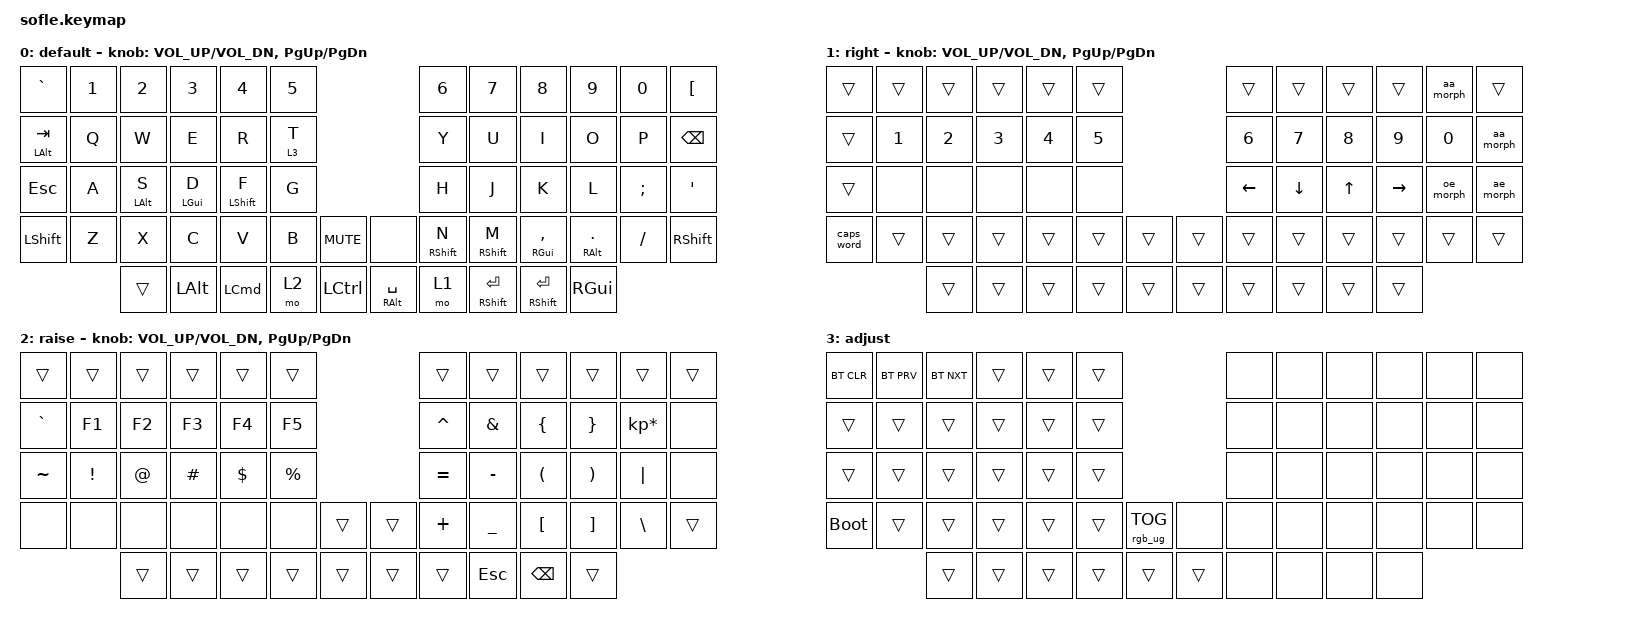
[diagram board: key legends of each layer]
/*
 * Copyright (c) 2020 The ZMK Contributors
 *
 * SPDX-License-Identifier: MIT
 */

#include <behaviors.dtsi>
#include <dt-bindings/zmk/bt.h>
#include <dt-bindings/zmk/keys.h>
#include <dt-bindings/zmk/rgb.h>

#define BASE 0
#define LOWER 1
#define RAISE 2
#define ADJUST 3

/ {
    behaviors {
        // Home row mods - right hand

        hmr: hmr {
            compatible = "zmk,behavior-hold-tap";
            label = "HMR";
            bindings = <&kp>, <&kp>;

            #binding-cells = <2>;
            tapping-term-ms = <240>;
            quick-tap-ms = <175>;
            flavor = "balanced";
            hold-trigger-on-release;
            hold-trigger-key-positions = <0 1 2 3 4 5 12 13 14 15 16 17 24 25 26 27 28 29 36 37 38 39 40 41 42 43 44 45 46 47>;
            require-prior-idle-ms = <100>;
        };

        // Home row mods - left hand

        hml: hml {
            compatible = "zmk,behavior-hold-tap";
            label = "HML";
            bindings = <&kp>, <&kp>;

            #binding-cells = <2>;
            tapping-term-ms = <240>;
            quick-tap-ms = <175>;
            require-prior-idle-ms = <100>;
            flavor = "balanced";
            hold-trigger-key-positions = <6 7 8 9 10 11 18 19 20 21 22 23 30 31 32 33 34 35 48 49 50 51 52 53 54 55 56 57>;
            hold-trigger-on-release;
        };

        // Unicode macro for å (lowercase)

        aa_lower: aa_lower {
            compatible = "zmk,behavior-macro";
            #binding-cells = <0>;
            bindings =
                <&macro_press>,
                <&kp LALT>,
                <&macro_tap>,
                <&kp KP_N0 &kp KP_N0 &kp E &kp KP_N5>,
                <&macro_release>,
                <&kp LALT>;
        };

        // Unicode macro for Å (uppercase)

        aa_upper: aa_upper {
            compatible = "zmk,behavior-macro";
            #binding-cells = <0>;
            bindings =
                <&macro_press>,
                <&kp LALT>,
                <&macro_tap>,
                <&kp KP_N0 &kp KP_N0 &kp C &kp KP_N5>,
                <&macro_release>,
                <&kp LALT>;
        };

        // Unicode macro for ä (lowercase)

        ae_lower: ae_lower {
            compatible = "zmk,behavior-macro";
            #binding-cells = <0>;
            bindings =
                <&macro_press>,
                <&kp LALT>,
                <&macro_tap>,
                <&kp KP_N0 &kp KP_N0 &kp E &kp KP_N4>,
                <&macro_release>,
                <&kp LALT>;
        };

        // Unicode macro for Ä (uppercase)

        ae_upper: ae_upper {
            compatible = "zmk,behavior-macro";
            #binding-cells = <0>;
            bindings =
                <&macro_press>,
                <&kp LALT>,
                <&macro_tap>,
                <&kp KP_N0 &kp KP_N0 &kp C &kp KP_N4>,
                <&macro_release>,
                <&kp LALT>;
        };

        // Unicode macro for ö (lowercase)

        oe_lower: oe_lower {
            compatible = "zmk,behavior-macro";
            #binding-cells = <0>;
            bindings =
                <&macro_press>,
                <&kp LALT>,
                <&macro_tap>,
                <&kp KP_N0 &kp KP_N0 &kp F &kp KP_N6>,
                <&macro_release>,
                <&kp LALT>;
        };

        // Unicode macro for Ö (uppercase)

        oe_upper: oe_upper {
            compatible = "zmk,behavior-macro";
            #binding-cells = <0>;
            bindings =
                <&macro_press>,
                <&kp LALT>,
                <&macro_tap>,
                <&kp KP_N0 &kp KP_N0 &kp D &kp KP_N6>,
                <&macro_release>,
                <&kp LALT>;
        };

        // Mod-morph for å/Å

        aa_morph: aa_morph {
            compatible = "zmk,behavior-mod-morph";
            #binding-cells = <0>;
            bindings = <&aa_lower>, <&aa_upper>;

            mods = <(MOD_LSFT|MOD_RSFT)>;
        };

        // Mod-morph for ä/Ä

        ae_morph: ae_morph {
            compatible = "zmk,behavior-mod-morph";
            #binding-cells = <0>;
            bindings = <&ae_lower>, <&ae_upper>;

            mods = <(MOD_LSFT|MOD_RSFT)>;
        };

        // Mod-morph for ö/Ö

        oe_morph: oe_morph {
            compatible = "zmk,behavior-mod-morph";
            #binding-cells = <0>;
            bindings = <&oe_lower>, <&oe_upper>;

            mods = <(MOD_LSFT|MOD_RSFT)>;
        };
    };

    // Activate ADJUST layer by pressing raise and lower

    conditional_layers {
        compatible = "zmk,conditional-layers";

        adjust_layer {
            if-layers = <LOWER RAISE>;
            then-layer = <ADJUST>;
        };
    };

    macros {
    };

    keymap {
        compatible = "zmk,keymap";

        default_layer {
            label = "default";

            // ------------------------------------------------------------------------------------------------------------
            // |  `    |  1  |  2  |  3   |  4   |  5   |                   |  6   |  7    |  8    |  9   |   0   |   [   |
            // | TAB/ALT| Q  |  W  |  E   |  R   |  T   |                   |  Y   |  U    |  I    |  O   |   P   | BKSPC |
            // |  ESC  |  A  | S/ALT| D/CMD| F/SFT|  G  |                   |  H   |  J    |  K    |  L   |   ;   |   '   |
            // | SHIFT |  Z  |  X  |  C   |  V   |  B   |  MUTE  |  |       | N/SFT| M/SFT | ,/CMD | ./ALT|   /   | SHIFT |
            //               | GUI | SL 2 | CTRL | LOWER|  ENTER |  | SPACE | RAISE| CTRL  | SFT+RET| GUI |

            bindings = <
&kp GRAVE         &kp N1  &kp N2           &kp N3           &kp N4             &kp N5                                 &kp N6              &kp N7                  &kp N8                  &kp N9                 &kp N0    &kp LBKT
&mt LEFT_ALT TAB  &kp Q   &kp W            &kp E            &kp R              &lt 3 T                                &kp Y               &kp U                   &kp I                   &kp O                  &kp P     &kp BSPC
&kp ESC           &kp A   &hmr LEFT_ALT S  &hmr LEFT_GUI D  &hmr LEFT_SHIFT F  &kp G                                  &kp H               &kp J                   &kp K                   &kp L                  &kp SEMI  &kp SQT
&kp LSHFT         &kp Z   &kp X            &kp C            &kp V              &kp B    &kp C_MUTE    &none           &hml RIGHT_SHIFT N  &hml RIGHT_SHIFT M      &hml RIGHT_GUI COMMA    &hml RIGHT_ALT PERIOD  &kp FSLH  &kp RSHFT
                          &trans           &kp LALT         &kp LEFT_COMMAND   &mo 2    &kp LCTRL     &mt RALT SPACE  &mo 1               &mt RIGHT_SHIFT RETURN  &mt RIGHT_SHIFT RETURN  &kp RGUI
            >;

            sensor-bindings = <&inc_dec_kp C_VOL_UP C_VOL_DN &inc_dec_kp PG_UP PG_DN>;
        };

        lower_layer {
            label = "right";

            // Arrows layer - like Corne with number row
            // ------------------------------------------------------------------------------------------------------------
            // |       |     |     |      |      |      |                   |      |       |       |      |   å   |       |
            // |       | N1  | N2  | N3   | N4   | N5   |                   | N6   | N7    | N8    | N9   |   0   |       |
            // |       |     |     |      |      |      |                   | LEFT | DOWN  | UP    | RIGHT|   ö   |   ä   |
            // |CPSWORD|     |     |      |      |      |        |  |       |      |       |       |      |       |       |
            //               |     |      |      |      |        |  |       |      |       |       |      |

            bindings = <
&trans      &trans  &trans  &trans  &trans  &trans                    &trans    &trans    &trans  &trans     &aa_morph  &trans
&trans      &kp N1  &kp N2  &kp N3  &kp N4  &kp N5                    &kp N6    &kp N7    &kp N8  &kp N9     &kp N0     &aa_morph
&trans      &none   &none   &none   &none   &none                     &kp LEFT  &kp DOWN  &kp UP  &kp RIGHT  &oe_morph  &ae_morph
&caps_word  &trans  &trans  &trans  &trans  &trans  &trans    &trans  &trans    &trans    &trans  &trans     &trans     &trans
                    &trans  &trans  &trans  &trans  &trans    &trans  &trans    &trans    &trans  &trans
            >;

            sensor-bindings = <&inc_dec_kp C_VOL_UP C_VOL_DN &inc_dec_kp PG_UP PG_DN>;
        };

        raise_layer {
            label = "raise";

            // Special characters layer - shifted down one row for home row access
            // ------------------------------------------------------------------------------------------------------------
            // |       |     |      |      |      |      |                   |      |       |       |      |       |       |
            // |   `   | F1  | F2   | F3   | F4   | F5   |                   |  ^   |  &    |  {    |  }   |   *   |       |
            // |   ~   |  !  |  @   |  #   |  $   |  %   |                   |  =   |  -    |  (    |  )   |   |   |       |
            // |       |     |      |      |      |      |        |  |       |  +   |  _    |  [    |  ]   |   \   |       |
            //               |      |      |      |      |        |  |       |      | ESC   | BKSPC |      |

            bindings = <
&trans     &trans    &trans  &trans    &trans      &trans                         &trans     &trans          &trans    &trans    &trans           &trans
&kp GRAVE  &kp F1    &kp F2  &kp F3    &kp F4      &kp F5                         &kp CARET  &kp AMPS        &kp LBRC  &kp RBRC  &kp KP_MULTIPLY  &none
&kp TILDE  &kp EXCL  &kp AT  &kp HASH  &kp DOLLAR  &kp PERCENT                    &kp EQUAL  &kp MINUS       &kp LPAR  &kp RPAR  &kp PIPE         &none
&none      &none     &none   &none     &none       &none        &trans    &trans  &kp PLUS   &kp UNDERSCORE  &kp LBKT  &kp RBKT  &kp BACKSLASH    &trans
                     &trans  &trans    &trans      &trans       &trans    &trans  &trans     &kp ESCAPE      &kp BSPC  &trans
            >;

            sensor-bindings = <&inc_dec_kp C_VOL_UP C_VOL_DN &inc_dec_kp PG_UP PG_DN>;
        };

        adjust_layer {
            // Bluetooth layer - like Corne
            // ----------------------------------------------------------------------------------------------------------------------------
            // | BTCLR  |  BT_PRV |  BT_NXT |         |         |         |                  |      |      |       |      |       |       |
            // |        |         |         |         |         |         |                  |      |      |       |      |       |       |
            // |        |         |         |         |         |         |                  |      |      |       |      |       |       |
            // |BOOTLOAD|         |         |         |         |         | RGB_TOG | |      |      |      |       |      |       |       |
            //                    |         |         |         |         |         | |      |      |      |       |      |

            label = "adjust";
            bindings = <
&bt BT_CLR   &bt BT_PRV  &bt BT_NXT  &trans  &trans  &trans                             &none  &none  &none  &none  &none  &none
&trans       &trans      &trans      &trans  &trans  &trans                             &none  &none  &none  &none  &none  &none
&trans       &trans      &trans      &trans  &trans  &trans                             &none  &none  &none  &none  &none  &none
&bootloader  &trans      &trans      &trans  &trans  &trans  &rgb_ug RGB_TOG    &none   &none  &none  &none  &none  &none  &none
                         &trans      &trans  &trans  &trans  &trans             &trans  &none  &none  &none  &none
            >;
        };
    };
};
